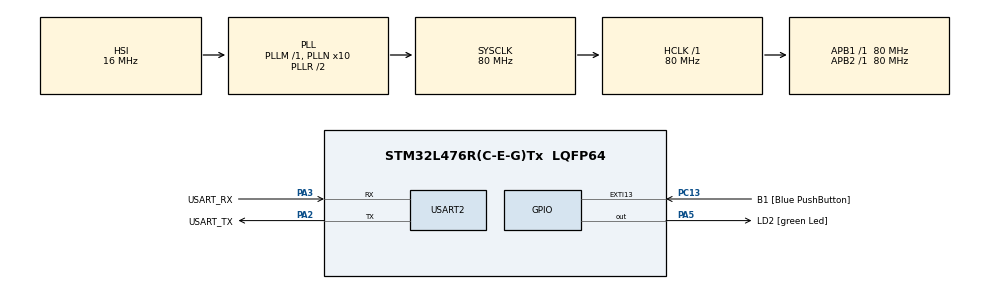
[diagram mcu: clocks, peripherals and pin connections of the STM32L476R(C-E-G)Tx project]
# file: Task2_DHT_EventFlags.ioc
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FREERTOS.Tasks01=defaultTask,24,128,StartDefaultTask,Default,NULL,Dynamic,NULL,NULL
FREERTOS.configTOTAL_HEAP_SIZE=8192
Mcu.Family=STM32L4
Mcu.Name=STM32L476R(C-E-G)Tx
Mcu.Package=LQFP64
NVIC.PriorityGroup=NVIC_PRIORITYGROUP_4
PA13\ (JTMS-SWDIO).GPIO_Label=TMS
PA13\ (JTMS-SWDIO).Mode=Serial_Wire
PA13\ (JTMS-SWDIO).Signal=SYS_JTMS-SWDIO
PA14\ (JTCK-SWCLK).GPIO_Label=TCK
PA14\ (JTCK-SWCLK).Mode=Serial_Wire
PA14\ (JTCK-SWCLK).Signal=SYS_JTCK-SWCLK
PA2.GPIO_Label=USART_TX
PA2.GPIO_Mode=GPIO_MODE_AF_PP
PA2.GPIO_PuPd=GPIO_NOPULL
PA2.GPIO_Speed=GPIO_SPEED_FREQ_VERY_HIGH
PA2.Mode=Asynchronous
PA2.Signal=USART2_TX
PA3.GPIO_Label=USART_RX
PA3.GPIO_Mode=GPIO_MODE_AF_PP
PA3.GPIO_PuPd=GPIO_NOPULL
PA3.GPIO_Speed=GPIO_SPEED_FREQ_VERY_HIGH
PA3.Mode=Asynchronous
PA3.Signal=USART2_RX
PA5.GPIO_Label=LD2 [green Led]
PA5.GPIO_ModeDefaultOutputPP=GPIO_MODE_OUTPUT_PP
PA5.GPIO_PuPd=GPIO_NOPULL
PA5.GPIO_Speed=GPIO_SPEED_FREQ_LOW
PA5.Signal=GPIO_Output
PB3\ (JTDO-TRACESWO).GPIO_Label=SWO
PB3\ (JTDO-TRACESWO).Signal=SYS_JTDO-SWO
PC13.GPIO_Label=B1 [Blue PushButton]
PC13.GPIO_ModeDefaultEXTI=GPIO_MODE_IT_FALLING
PC13.GPIO_PuPd=GPIO_NOPULL
PC13.Signal=GPXTI13
PC14-OSC32_IN\ (PC14).Mode=LSE-External-Oscillator
PC14-OSC32_IN\ (PC14).Signal=RCC_OSC32_IN
PC15-OSC32_OUT\ (PC15).Mode=LSE-External-Oscillator
PC15-OSC32_OUT\ (PC15).Signal=RCC_OSC32_OUT
PH0-OSC_IN\ (PH0).Signal=RCC_OSC_IN
PH1-OSC_OUT\ (PH1).Signal=RCC_OSC_OUT
ProjectManager.HeapSize=0x200
ProjectManager.StackSize=0x400
ProjectManager.TargetToolchain=CMake
RCC.ADCFreq_Value=64000000
RCC.AHBFreq_Value=80000000
RCC.APB1Freq_Value=80000000
RCC.APB1TimFreq_Value=80000000
RCC.APB2Freq_Value=80000000
RCC.APB2TimFreq_Value=80000000
RCC.CortexFreq_Value=80000000
RCC.HCLKFreq_Value=80000000
RCC.HSE_VALUE=8000000
RCC.HSI_VALUE=16000000
RCC.MSI_VALUE=4000000
RCC.PLLN=10
RCC.PLLSourceVirtual=RCC_PLLSOURCE_HSI
RCC.PREFETCH_ENABLE=1
RCC.SYSCLKFreq_VALUE=80000000
RCC.SYSCLKSource=RCC_SYSCLKSOURCE_PLLCLK
RCC.USBFreq_Value=64000000
RCC.VCOOutputFreq_Value=160000000
USART2.VirtualMode-Asynchronous=VM_ASYNC
VP_FREERTOS_VS_CMSIS_V2.Mode=CMSIS_V2
board=NUCLEO-L476RG

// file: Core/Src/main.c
/* USER CODE BEGIN Header */
/**
 ******************************************************************************
 * @file           : main.c
 * @brief          : Main program body
 ******************************************************************************
 * @attention
 *
 * Copyright (c) 2026 STMicroelectronics.
 * All rights reserved.
 *
 * This software is licensed under terms that can be found in the LICENSE file
 * in the root directory of this software component.
 * If no LICENSE file comes with this software, it is provided AS-IS.
 *
 ******************************************************************************
 */
/* USER CODE END Header */
#include "main.h"
#include "cmsis_os.h"

/* USER CODE BEGIN Includes */
#include "delay_task.h"
#include "dht_task.h"
#include "print_task.h"
/* USER CODE END Includes */

UART_HandleTypeDef huart2;

/* Definitions for defaultTask */
osThreadId_t defaultTaskHandle;
const osThreadAttr_t defaultTask_attributes = {
  .name = "defaultTask",
  .stack_size = 128 * 4,
  .priority = (osPriority_t) osPriorityNormal,
};
/* USER CODE BEGIN PV */
osEventFlagsId_t xEventGroup;
volatile uint8_t g_temperature;
volatile uint8_t g_humidity;
/* USER CODE END PV */

void SystemClock_Config(void);
static void MX_GPIO_Init(void);
static void MX_USART2_UART_Init(void);
void StartDefaultTask(void *argument);

int main(void)
{

  /* MCU Configuration--------------------------------------------------------*/

  /* Reset of all peripherals, Initializes the Flash interface and the Systick. */
  HAL_Init();

  /* Configure the system clock */
  SystemClock_Config();

  /* Initialize all configured peripherals */
  MX_GPIO_Init();
  MX_USART2_UART_Init();

  /* Init scheduler */
  osKernelInitialize();

  /* Create the thread(s) */
  /* creation of defaultTask */
  defaultTaskHandle = osThreadNew(StartDefaultTask, NULL, &defaultTask_attributes);

  /* Start scheduler */
  osKernelStart();

  /* We should never get here as control is now taken by the scheduler */

  /* Infinite loop */
    while (1)
    {

    }
}

void SystemClock_Config(void)
{
  RCC_OscInitTypeDef RCC_OscInitStruct = {0};
  RCC_ClkInitTypeDef RCC_ClkInitStruct = {0};

  /** Configure the main internal regulator output voltage
  */
  if (HAL_PWREx_ControlVoltageScaling(PWR_REGULATOR_VOLTAGE_SCALE1) != HAL_OK)
  {
    Error_Handler();
  }

  /** Initializes the RCC Oscillators according to the specified parameters
  * in the RCC_OscInitTypeDef structure.
  */
  RCC_OscInitStruct.OscillatorType = RCC_OSCILLATORTYPE_HSI;
  RCC_OscInitStruct.HSIState = RCC_HSI_ON;
  RCC_OscInitStruct.HSICalibrationValue = RCC_HSICALIBRATION_DEFAULT;
  RCC_OscInitStruct.PLL.PLLState = RCC_PLL_ON;
  RCC_OscInitStruct.PLL.PLLSource = RCC_PLLSOURCE_HSI;
  RCC_OscInitStruct.PLL.PLLM = 1;
  RCC_OscInitStruct.PLL.PLLN = 10;
  RCC_OscInitStruct.PLL.PLLP = RCC_PLLP_DIV7;
  RCC_OscInitStruct.PLL.PLLQ = RCC_PLLQ_DIV2;
  RCC_OscInitStruct.PLL.PLLR = RCC_PLLR_DIV2;
  if (HAL_RCC_OscConfig(&RCC_OscInitStruct) != HAL_OK)
  {
    Error_Handler();
  }

  /** Initializes the CPU, AHB and APB buses clocks
  */
  RCC_ClkInitStruct.ClockType = RCC_CLOCKTYPE_HCLK|RCC_CLOCKTYPE_SYSCLK
                              |RCC_CLOCKTYPE_PCLK1|RCC_CLOCKTYPE_PCLK2;
  RCC_ClkInitStruct.SYSCLKSource = RCC_SYSCLKSOURCE_PLLCLK;
  RCC_ClkInitStruct.AHBCLKDivider = RCC_SYSCLK_DIV1;
  RCC_ClkInitStruct.APB1CLKDivider = RCC_HCLK_DIV1;
  RCC_ClkInitStruct.APB2CLKDivider = RCC_HCLK_DIV1;

  if (HAL_RCC_ClockConfig(&RCC_ClkInitStruct, FLASH_LATENCY_4) != HAL_OK)
  {
    Error_Handler();
  }
}

static void MX_USART2_UART_Init(void)
{

  huart2.Instance = USART2;
  huart2.Init.BaudRate = 115200;
  huart2.Init.WordLength = UART_WORDLENGTH_8B;
  huart2.Init.StopBits = UART_STOPBITS_1;
  huart2.Init.Parity = UART_PARITY_NONE;
  huart2.Init.Mode = UART_MODE_TX_RX;
  huart2.Init.HwFlowCtl = UART_HWCONTROL_NONE;
  huart2.Init.OverSampling = UART_OVERSAMPLING_16;
  huart2.Init.OneBitSampling = UART_ONE_BIT_SAMPLE_DISABLE;
  huart2.AdvancedInit.AdvFeatureInit = UART_ADVFEATURE_NO_INIT;
  if (HAL_UART_Init(&huart2) != HAL_OK)
  {
    Error_Handler();
  }

}

static void MX_GPIO_Init(void)
{
  GPIO_InitTypeDef GPIO_InitStruct = {0};

  /* GPIO Ports Clock Enable */
  __HAL_RCC_GPIOC_CLK_ENABLE();
  __HAL_RCC_GPIOH_CLK_ENABLE();
  __HAL_RCC_GPIOA_CLK_ENABLE();
  __HAL_RCC_GPIOB_CLK_ENABLE();

  /*Configure GPIO pin Output Level */
  HAL_GPIO_WritePin(LD2_GPIO_Port, LD2_Pin, GPIO_PIN_RESET);

  /*Configure GPIO pin : B1_Pin */
  GPIO_InitStruct.Pin = B1_Pin;
  GPIO_InitStruct.Mode = GPIO_MODE_IT_FALLING;
  GPIO_InitStruct.Pull = GPIO_NOPULL;
  HAL_GPIO_Init(B1_GPIO_Port, &GPIO_InitStruct);

  /*Configure GPIO pin : LD2_Pin */
  GPIO_InitStruct.Pin = LD2_Pin;
  GPIO_InitStruct.Mode = GPIO_MODE_OUTPUT_PP;
  GPIO_InitStruct.Pull = GPIO_NOPULL;
  GPIO_InitStruct.Speed = GPIO_SPEED_FREQ_LOW;
  HAL_GPIO_Init(LD2_GPIO_Port, &GPIO_InitStruct);

  /* USER CODE BEGIN MX_GPIO_Init_2 */
    GPIO_InitStruct.Pin = DHT_PIN_Pin;
    GPIO_InitStruct.Mode = GPIO_MODE_OUTPUT_PP;
    GPIO_InitStruct.Pull = GPIO_NOPULL;
    GPIO_InitStruct.Speed = GPIO_SPEED_FREQ_LOW;
    HAL_GPIO_Init(DHT_PIN_GPIO_Port, &GPIO_InitStruct);
    HAL_GPIO_WritePin(DHT_PIN_GPIO_Port, DHT_PIN_Pin, GPIO_PIN_SET);
  /* USER CODE END MX_GPIO_Init_2 */
}

void StartDefaultTask(void *argument)
{
  /* USER CODE BEGIN 5 */
    osThreadAttr_t task_attr;
    (void)argument;

    task_attr.attr_bits = 0;
    task_attr.cb_mem = NULL;
    task_attr.cb_size = 0;
    task_attr.stack_mem = NULL;
    task_attr.stack_size = 256 * 4;
    task_attr.tz_module = 0;
    task_attr.reserved = 0;

    xEventGroup = osEventFlagsNew(NULL);

    task_attr.name = "DHT";
    task_attr.priority = (osPriority_t)osPriorityAboveNormal;
    osThreadNew(DHTTask, NULL, &task_attr);

    task_attr.name = "Delay";
    task_attr.priority = (osPriority_t)osPriorityNormal;
    osThreadNew(DelayTask, NULL, &task_attr);

    task_attr.name = "Print";
    task_attr.priority = (osPriority_t)osPriorityNormal;
    osThreadNew(PrintTask, NULL, &task_attr);

    for (;;)
    {
        osDelay(1);
    }
  /* USER CODE END 5 */
}

void Error_Handler(void)
{
  /* USER CODE BEGIN Error_Handler_Debug */
    /* User can add his own implementation to report the HAL error return state
     */
    __disable_irq();
    while (1)
    {
    }
  /* USER CODE END Error_Handler_Debug */
}
#ifdef USE_FULL_ASSERT
/**
  * @brief  Reports the name of the source file and the source line number
  *         where the assert_param error has occurred.
  * @param  file: pointer to the source file name
  * @param  line: assert_param error line source number
  * @retval None
  */
void assert_failed(uint8_t *file, uint32_t line)
{
  /* USER CODE BEGIN 6 */
    /* User can add his own implementation to report the file name and line
       number, ex: printf("Wrong parameters value: file %s on line %d\r\n",
       file, line) */
  /* USER CODE END 6 */
}
#endif /* USE_FULL_ASSERT */
